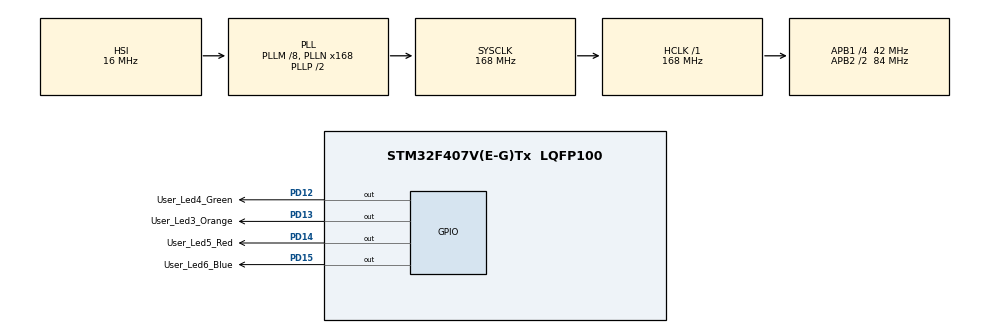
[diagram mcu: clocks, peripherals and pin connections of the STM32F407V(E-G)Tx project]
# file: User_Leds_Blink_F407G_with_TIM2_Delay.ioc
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Mcu.Family=STM32F4
Mcu.Name=STM32F407V(E-G)Tx
Mcu.Package=LQFP100
NVIC.PriorityGroup=NVIC_PRIORITYGROUP_0
NVIC.TIM2_IRQn=true\:0\:0\:false\:false\:true\:true\:true\:true
PA13.Mode=Serial_Wire
PA13.Signal=SYS_JTMS-SWDIO
PA14.Mode=Serial_Wire
PA14.Signal=SYS_JTCK-SWCLK
PD12.GPIO_Label=User_Led4_Green
PD12.GPIO_Speed=GPIO_SPEED_FREQ_MEDIUM
PD12.Signal=GPIO_Output
PD13.GPIO_Label=User_Led3_Orange
PD13.GPIO_Speed=GPIO_SPEED_FREQ_MEDIUM
PD13.Signal=GPIO_Output
PD14.GPIO_Label=User_Led5_Red
PD14.GPIO_Speed=GPIO_SPEED_FREQ_MEDIUM
PD14.Signal=GPIO_Output
PD15.GPIO_Label=User_Led6_Blue
PD15.GPIO_Speed=GPIO_SPEED_FREQ_MEDIUM
PD15.Signal=GPIO_Output
ProjectManager.HeapSize=0x200
ProjectManager.StackSize=0x400
ProjectManager.TargetToolchain=STM32CubeIDE
RCC.48MHZClocksFreq_Value=48000000
RCC.AHBFreq_Value=168000000
RCC.APB1CLKDivider=RCC_HCLK_DIV4
RCC.APB1Freq_Value=42000000
RCC.APB1TimFreq_Value=84000000
RCC.APB2CLKDivider=RCC_HCLK_DIV2
RCC.APB2Freq_Value=84000000
RCC.APB2TimFreq_Value=168000000
RCC.CortexFreq_Value=168000000
RCC.HCLKFreq_Value=168000000
RCC.HSE_VALUE=8000000
RCC.HSI_VALUE=16000000
RCC.PLLM=8
RCC.PLLN=168
RCC.PLLQ=7
RCC.SYSCLKFreq_VALUE=168000000
RCC.SYSCLKSource=RCC_SYSCLKSOURCE_PLLCLK
RCC.VCOOutputFreq_Value=336000000
TIM2.Period=0xffffffff
TIM2.Prescaler=83
VP_TIM2_VS_ClockSourceINT.Mode=Internal
board=STM32F407G-DISC1

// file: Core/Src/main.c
/* USER CODE BEGIN Header */
/**
  ******************************************************************************
  * @file           : main.c
  * @brief          : Main program body
  ******************************************************************************
  * @attention
  *
  * Copyright (c) 2025 STMicroelectronics.
  * All rights reserved.
  *
  * This software is licensed under terms that can be found in the LICENSE file
  * in the root directory of this software component.
  * If no LICENSE file comes with this software, it is provided AS-IS.
  *
  ******************************************************************************
  */
/* USER CODE END Header */
#include "main.h"

TIM_HandleTypeDef htim2;

void SystemClock_Config(void);
static void MX_GPIO_Init(void);
static void MX_TIM2_Init(void);

/* USER CODE BEGIN 0 */
typedef struct {
    uint32_t start;
    uint32_t delay_us;
    uint8_t active;
} DelayTimer_t;

void Delay_Start(DelayTimer_t *t, uint32_t us)
{
    t->start = __HAL_TIM_GET_COUNTER(&htim2);
    t->delay_us = us;
    t->active = 1;
}

uint8_t Delay_IsExpired(DelayTimer_t *t)
{
    if (!t->active) return 1; // zaten bitmis
    uint32_t now = __HAL_TIM_GET_COUNTER(&htim2);
    if ((now - t->start) >= t->delay_us) {
        t->active = 0;
        return 1;
    }
    return 0;
}
/* USER CODE END 0 */

int main(void)
{

  /* MCU Configuration--------------------------------------------------------*/

  /* Reset of all peripherals, Initializes the Flash interface and the Systick. */
  HAL_Init();

  /* Configure the system clock */
  SystemClock_Config();

  /* Initialize all configured peripherals */
  MX_GPIO_Init();
  MX_TIM2_Init();
  /* USER CODE BEGIN 2 */
  HAL_TIM_Base_Start_IT(&htim2);

  DelayTimer_t ledTimer1;
  /* USER CODE END 2 */

  /* Infinite loop */
  while (1)
  {

    /* USER CODE BEGIN 3 */

	if (Delay_IsExpired(&ledTimer1))
		{
	    	HAL_GPIO_TogglePin(GPIOD, User_Led3_Orange_Pin | User_Led4_Green_Pin | User_Led5_Red_Pin | User_Led6_Blue_Pin);
	    	//HAL_GPIO_TogglePin(User_Led4_Green_GPIO_Port, User_Led4_Green_Pin);
	    	//HAL_GPIO_TogglePin(User_Led5_Red_GPIO_Port, User_Led5_Red_Pin);
	    	//HAL_GPIO_TogglePin(User_Led6_Blue_GPIO_Port, User_Led6_Blue_Pin);
	    	Delay_Start(&ledTimer1, 1000000); // 1 saniye bekleyip toggle yapiyor
	    }

	 	     // burada CPU baska isler yapabilir

  }
  /* USER CODE END 3 */
}

void SystemClock_Config(void)
{
  RCC_OscInitTypeDef RCC_OscInitStruct = {0};
  RCC_ClkInitTypeDef RCC_ClkInitStruct = {0};

  /** Configure the main internal regulator output voltage
  */
  __HAL_RCC_PWR_CLK_ENABLE();
  __HAL_PWR_VOLTAGESCALING_CONFIG(PWR_REGULATOR_VOLTAGE_SCALE1);

  /** Initializes the RCC Oscillators according to the specified parameters
  * in the RCC_OscInitTypeDef structure.
  */
  RCC_OscInitStruct.OscillatorType = RCC_OSCILLATORTYPE_HSI;
  RCC_OscInitStruct.HSIState = RCC_HSI_ON;
  RCC_OscInitStruct.HSICalibrationValue = RCC_HSICALIBRATION_DEFAULT;
  RCC_OscInitStruct.PLL.PLLState = RCC_PLL_ON;
  RCC_OscInitStruct.PLL.PLLSource = RCC_PLLSOURCE_HSI;
  RCC_OscInitStruct.PLL.PLLM = 8;
  RCC_OscInitStruct.PLL.PLLN = 168;
  RCC_OscInitStruct.PLL.PLLP = RCC_PLLP_DIV2;
  RCC_OscInitStruct.PLL.PLLQ = 7;
  if (HAL_RCC_OscConfig(&RCC_OscInitStruct) != HAL_OK)
  {
    Error_Handler();
  }

  /** Initializes the CPU, AHB and APB buses clocks
  */
  RCC_ClkInitStruct.ClockType = RCC_CLOCKTYPE_HCLK|RCC_CLOCKTYPE_SYSCLK
                              |RCC_CLOCKTYPE_PCLK1|RCC_CLOCKTYPE_PCLK2;
  RCC_ClkInitStruct.SYSCLKSource = RCC_SYSCLKSOURCE_PLLCLK;
  RCC_ClkInitStruct.AHBCLKDivider = RCC_SYSCLK_DIV1;
  RCC_ClkInitStruct.APB1CLKDivider = RCC_HCLK_DIV4;
  RCC_ClkInitStruct.APB2CLKDivider = RCC_HCLK_DIV2;

  if (HAL_RCC_ClockConfig(&RCC_ClkInitStruct, FLASH_LATENCY_5) != HAL_OK)
  {
    Error_Handler();
  }
}

static void MX_TIM2_Init(void)
{

  TIM_ClockConfigTypeDef sClockSourceConfig = {0};
  TIM_MasterConfigTypeDef sMasterConfig = {0};

  htim2.Instance = TIM2;
  htim2.Init.Prescaler = 83;
  htim2.Init.CounterMode = TIM_COUNTERMODE_UP;
  htim2.Init.Period = 0xffffffff;
  htim2.Init.ClockDivision = TIM_CLOCKDIVISION_DIV1;
  htim2.Init.AutoReloadPreload = TIM_AUTORELOAD_PRELOAD_DISABLE;
  if (HAL_TIM_Base_Init(&htim2) != HAL_OK)
  {
    Error_Handler();
  }
  sClockSourceConfig.ClockSource = TIM_CLOCKSOURCE_INTERNAL;
  if (HAL_TIM_ConfigClockSource(&htim2, &sClockSourceConfig) != HAL_OK)
  {
    Error_Handler();
  }
  sMasterConfig.MasterOutputTrigger = TIM_TRGO_RESET;
  sMasterConfig.MasterSlaveMode = TIM_MASTERSLAVEMODE_DISABLE;
  if (HAL_TIMEx_MasterConfigSynchronization(&htim2, &sMasterConfig) != HAL_OK)
  {
    Error_Handler();
  }

}

static void MX_GPIO_Init(void)
{
  GPIO_InitTypeDef GPIO_InitStruct = {0};

  /* GPIO Ports Clock Enable */
  __HAL_RCC_GPIOD_CLK_ENABLE();
  __HAL_RCC_GPIOA_CLK_ENABLE();

  /*Configure GPIO pin Output Level */
  HAL_GPIO_WritePin(GPIOD, User_Led4_Green_Pin|User_Led3_Orange_Pin|User_Led5_Red_Pin|User_Led6_Blue_Pin, GPIO_PIN_RESET);

  /*Configure GPIO pins : User_Led4_Green_Pin User_Led3_Orange_Pin User_Led5_Red_Pin User_Led6_Blue_Pin */
  GPIO_InitStruct.Pin = User_Led4_Green_Pin|User_Led3_Orange_Pin|User_Led5_Red_Pin|User_Led6_Blue_Pin;
  GPIO_InitStruct.Mode = GPIO_MODE_OUTPUT_PP;
  GPIO_InitStruct.Pull = GPIO_NOPULL;
  GPIO_InitStruct.Speed = GPIO_SPEED_FREQ_MEDIUM;
  HAL_GPIO_Init(GPIOD, &GPIO_InitStruct);

}

/* USER CODE BEGIN 4 */
//void HAL_TIM_PeriodElapsedCallback(TIM_HandleTypeDef *htim2){
//	HAL_GPIO_TogglePin(User_Led5_Red_GPIO_Port, User_Led5_Red_Pin);
//}
/* USER CODE END 4 */

void Error_Handler(void)
{
  __disable_irq();
  while (1)
  {
  }
}
